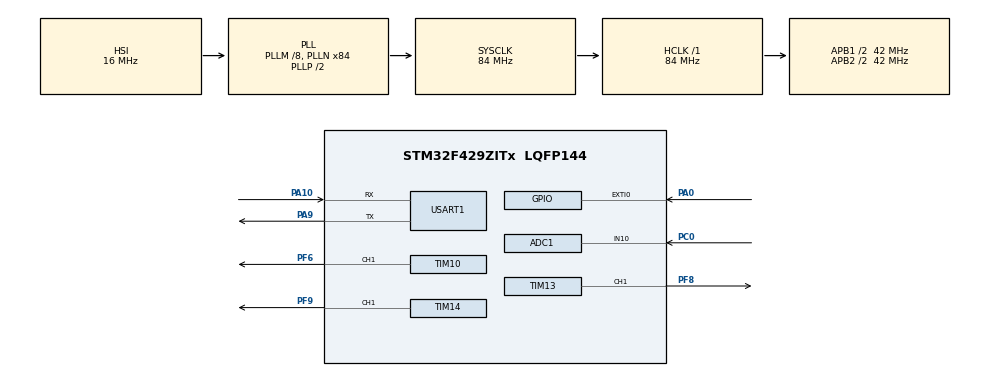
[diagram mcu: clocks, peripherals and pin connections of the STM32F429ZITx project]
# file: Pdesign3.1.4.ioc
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ADC1.Channel-1\#ChannelRegularConversion=ADC_CHANNEL_10
ADC1.ContinuousConvMode=ENABLE
ADC1.NbrOfConversionFlag=1
ADC1.Rank-1\#ChannelRegularConversion=1
ADC1.SamplingTime-1\#ChannelRegularConversion=ADC_SAMPLETIME_15CYCLES
ADC1.master=1
Mcu.Family=STM32F4
Mcu.Name=STM32F429ZITx
Mcu.Package=LQFP144
NVIC.EXTI0_IRQn=true\:0\:0\:false\:false\:true\:true\:true\:true
NVIC.PriorityGroup=NVIC_PRIORITYGROUP_4
NVIC.USART1_IRQn=true\:0\:0\:false\:false\:true\:true\:true\:true
PA0/WKUP.GPIO_ModeDefaultEXTI=GPIO_MODE_IT_RISING
PA0/WKUP.GPIO_PuPd=GPIO_PULLDOWN
PA0/WKUP.Signal=GPXTI0
PA10.Mode=Asynchronous
PA10.Signal=USART1_RX
PA13.Mode=Serial_Wire
PA13.Signal=SYS_JTMS-SWDIO
PA14.Mode=Serial_Wire
PA14.Signal=SYS_JTCK-SWCLK
PA9.Mode=Asynchronous
PA9.Signal=USART1_TX
PC0.Signal=ADCx_IN10
PF6.GPIO_ModeDefaultPP=GPIO_MODE_AF_PP
PF6.GPIO_PuPd=GPIO_PULLDOWN
PF6.Signal=S_TIM10_CH1
PF8.GPIO_PuPd=GPIO_PULLDOWN
PF8.Signal=S_TIM13_CH1
PF9.GPIO_PuPd=GPIO_PULLDOWN
PF9.Signal=S_TIM14_CH1
PH0/OSC_IN.Mode=HSE-External-Clock-Source
PH0/OSC_IN.Signal=RCC_OSC_IN
PH1/OSC_OUT.Mode=HSE-External-Clock-Source
PH1/OSC_OUT.Signal=RCC_OSC_OUT
ProjectManager.HeapSize=0x200
ProjectManager.StackSize=0x400
ProjectManager.TargetToolchain=MDK-ARM V5.32
RCC.48MHZClocksFreq_Value=42000000
RCC.AHBFreq_Value=84000000
RCC.APB1CLKDivider=RCC_HCLK_DIV2
RCC.APB1Freq_Value=42000000
RCC.APB1TimFreq_Value=84000000
RCC.APB2CLKDivider=RCC_HCLK_DIV2
RCC.APB2Freq_Value=42000000
RCC.APB2TimFreq_Value=84000000
RCC.CortexFreq_Value=84000000
RCC.HCLKFreq_Value=84000000
RCC.HSE_VALUE=25000000
RCC.HSI_VALUE=16000000
RCC.LSE_VALUE=32768
RCC.PLLM=8
RCC.PLLN=84
RCC.SYSCLKFreq_VALUE=84000000
RCC.SYSCLKSource=RCC_SYSCLKSOURCE_PLLCLK
RCC.VCOOutputFreq_Value=168000000
SH.ADCx_IN10.0=ADC1_IN10,IN10
SH.S_TIM10_CH1.0=TIM10_CH1,PWM Generation1 CH1
SH.S_TIM13_CH1.0=TIM13_CH1,PWM Generation1 CH1
SH.S_TIM14_CH1.0=TIM14_CH1,PWM Generation1 CH1
TIM10.AutoReloadPreload=TIM_AUTORELOAD_PRELOAD_ENABLE
TIM10.Channel=TIM_CHANNEL_1
TIM10.Period=839
TIM10.Prescaler=99
TIM13.AutoReloadPreload=TIM_AUTORELOAD_PRELOAD_ENABLE
TIM13.Channel=TIM_CHANNEL_1
TIM13.Period=839
TIM13.Prescaler=99
TIM14.AutoReloadPreload=TIM_AUTORELOAD_PRELOAD_ENABLE
TIM14.Channel=TIM_CHANNEL_1
TIM14.Period=839
TIM14.Prescaler=99
USART1.VirtualMode=VM_ASYNC
VP_TIM10_VS_ClockSourceINT.Mode=Enable_Timer
VP_TIM13_VS_ClockSourceINT.Mode=Enable_Timer
VP_TIM14_VS_ClockSourceINT.Mode=Enable_Timer
board=custom

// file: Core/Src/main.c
/* USER CODE BEGIN Header */
/**
  ******************************************************************************
  * @file           : main.c
  * @brief          : Main program body
  ******************************************************************************
  * @attention
  *
  * Copyright (c) 2024 STMicroelectronics.
  * All rights reserved.
  *
  * This software is licensed under terms that can be found in the LICENSE file
  * in the root directory of this software component.
  * If no LICENSE file comes with this software, it is provided AS-IS.
  *
  ******************************************************************************
  */
/* USER CODE END Header */
#include "main.h"
#include "adc.h"
#include "tim.h"
#include "usart.h"
#include "gpio.h"

/* USER CODE BEGIN Includes */
#include <stdio.h>
#include <string.h>
#include <stdlib.h>
#include <math.h>
/* USER CODE END Includes */

/* USER CODE BEGIN PD */

/*PWM相关变量*/
uint8_t duty_cycle_input = 100;       	/* 接收串口输入的占空比*/
static uint32_t pwm_value = 0;         // 储存占空比的值
uint32_t duty_cycle_max = 100;  // 储存最大占空比值
uint8_t received_pwm_value = 0;      	  /*接收的PWM占空比*/
uint8_t new_pwm_value_received = 0;     /*标志位，表示收到新的PWM值*/
static int breathing_direction = 1;    // 占空比变化方向：1或-1
static uint32_t last_update_time = 0;

/*输入处理相关变量*/
#define MAX_INPUT_LENGTH 20  // 输入缓冲区最大长度
char input_buffer[MAX_INPUT_LENGTH];  // 输入缓冲区
int buffer_index = 0;  // 当前输入缓冲区的位置，表示下一个接收字符应当存放的位置
uint8_t duty_cycle_input;  // 储存当前接收的字节
int received_period_ms = 0;   // 收到的周期值
int new_period_value_received = 0;  // 标识符，标记是否收到周期

/*模式与颜色相关变量*/
static uint8_t current_color = 0;      // 当前的颜色
static uint8_t current_mode = 0;       // 当前模式

/*按键相关变量*/
uint32_t last_button_press = 0;         /*存放上次按键按下的时间，用于消除抖动*/

/*ADC光敏采集相关变量*/
uint32_t AD_Value;
uint32_t voltage;

//char *display_duty = "current duty:"
/* USER CODE END PD */

void SystemClock_Config(void);
/* USER CODE BEGIN PFP */
void HAL_GPIO_EXTI_Callback(uint16_t GPIO_Pin);
void HAL_UART_RxCpltCallback(UART_HandleTypeDef *huart);
void Update_PWM(void);
void Update_Period(uint32_t period_ms);
void Get_Lux(void);
/* USER CODE END PFP */

int main(void)
{

  /* MCU Configuration--------------------------------------------------------*/

  /* Reset of all peripherals, Initializes the Flash interface and the Systick. */
  HAL_Init();

  /* Configure the system clock */
  SystemClock_Config();

  /* Initialize all configured peripherals */
  MX_GPIO_Init();
  MX_TIM13_Init();
  MX_TIM10_Init();
  MX_TIM14_Init();
  MX_USART1_UART_Init();
  MX_ADC1_Init();
  /* USER CODE BEGIN 2 */

	//开启三个定时器
	HAL_TIM_PWM_Start(&htim13, TIM_CHANNEL_1);
  HAL_TIM_PWM_Start(&htim10, TIM_CHANNEL_1);
  HAL_TIM_PWM_Start(&htim14, TIM_CHANNEL_1);

	//usart启动中断接收
	HAL_UART_Receive_IT(&huart1, &duty_cycle_input, 1);

  /* USER CODE END 2 */

  /* Infinite loop */
  /* USER CODE BEGIN WHILE */
  while (1)
  {
		//更新PWM实现呼吸灯效果
		Update_PWM();
		HAL_Delay(10);

		//每十秒获取光强数据
		static uint32_t last_voltage_time = 0;
		if (HAL_GetTick() - last_voltage_time >= 10) {
				Get_Lux();
				last_voltage_time = HAL_GetTick();
		}
    /* USER CODE END WHILE */

  }
}

void SystemClock_Config(void)
{
  RCC_OscInitTypeDef RCC_OscInitStruct = {0};
  RCC_ClkInitTypeDef RCC_ClkInitStruct = {0};

  /** Configure the main internal regulator output voltage
  */
  __HAL_RCC_PWR_CLK_ENABLE();
  __HAL_PWR_VOLTAGESCALING_CONFIG(PWR_REGULATOR_VOLTAGE_SCALE3);

  /** Initializes the RCC Oscillators according to the specified parameters
  * in the RCC_OscInitTypeDef structure.
  */
  RCC_OscInitStruct.OscillatorType = RCC_OSCILLATORTYPE_HSI;
  RCC_OscInitStruct.HSIState = RCC_HSI_ON;
  RCC_OscInitStruct.HSICalibrationValue = RCC_HSICALIBRATION_DEFAULT;
  RCC_OscInitStruct.PLL.PLLState = RCC_PLL_ON;
  RCC_OscInitStruct.PLL.PLLSource = RCC_PLLSOURCE_HSI;
  RCC_OscInitStruct.PLL.PLLM = 8;
  RCC_OscInitStruct.PLL.PLLN = 84;
  RCC_OscInitStruct.PLL.PLLP = RCC_PLLP_DIV2;
  RCC_OscInitStruct.PLL.PLLQ = 4;
  if (HAL_RCC_OscConfig(&RCC_OscInitStruct) != HAL_OK)
  {
    Error_Handler();
  }

  /** Initializes the CPU, AHB and APB buses clocks
  */
  RCC_ClkInitStruct.ClockType = RCC_CLOCKTYPE_HCLK|RCC_CLOCKTYPE_SYSCLK
                              |RCC_CLOCKTYPE_PCLK1|RCC_CLOCKTYPE_PCLK2;
  RCC_ClkInitStruct.SYSCLKSource = RCC_SYSCLKSOURCE_PLLCLK;
  RCC_ClkInitStruct.AHBCLKDivider = RCC_SYSCLK_DIV1;
  RCC_ClkInitStruct.APB1CLKDivider = RCC_HCLK_DIV2;
  RCC_ClkInitStruct.APB2CLKDivider = RCC_HCLK_DIV2;

  if (HAL_RCC_ClockConfig(&RCC_ClkInitStruct, FLASH_LATENCY_2) != HAL_OK)
  {
    Error_Handler();
  }
}

/* USER CODE BEGIN 4 */

/**
 * @brief 更新PWM占空比，用于实现呼吸灯效果
 *        根据当前模式和方向动态调整占空比，并在颜色模式变化后切换灯光颜色
 * @param None
 * @retval None
 */
void Update_PWM(void)
{
		//延时消除
    if (HAL_GetTick() - last_update_time >= 10)
    {
        last_update_time = HAL_GetTick();

        // 如果接收到新的占空比，更新占空比
				// 否则占空比按呼吸灯模式
        if (new_pwm_value_received)
        {
            pwm_value = received_pwm_value;
        }
        else
        {
						// pwm根据呼吸方向逐渐增大/减小
            pwm_value += breathing_direction * 1;

        // 控制占空比范围
        if (pwm_value >= 100) {
            pwm_value = 100;
            breathing_direction = -1;  // 占空比达最大，开始反向减小
        } else if (pwm_value <= 0) {
            pwm_value = 0;
            breathing_direction = 1;  // 占空比达最小，开始正向增大

            // 更新颜色模式
						/*
						参数current_mode=0时，颜色变化为红、蓝、绿
						参数current_mode=1时，颜色变化为红、绿
						*/
            if (current_mode == 0) {
                current_color = (current_color + 1) % 3;
            } else if (current_mode == 1) {
                current_color = (current_color == 0) ? 2 : 0;
            }
					}
				}

        // 更新占空比
        if (current_color == 0) {  // 红灯
            __HAL_TIM_SET_COMPARE(&htim13, TIM_CHANNEL_1, pwm_value);
            __HAL_TIM_SET_COMPARE(&htim10, TIM_CHANNEL_1, 0);
            __HAL_TIM_SET_COMPARE(&htim14, TIM_CHANNEL_1, 0);
        } else if (current_color == 1) {  // 蓝灯
            __HAL_TIM_SET_COMPARE(&htim13, TIM_CHANNEL_1, 0);
            __HAL_TIM_SET_COMPARE(&htim10, TIM_CHANNEL_1, pwm_value);
            __HAL_TIM_SET_COMPARE(&htim14, TIM_CHANNEL_1, 0);
        } else if (current_color == 2) {  // 绿灯
            __HAL_TIM_SET_COMPARE(&htim13, TIM_CHANNEL_1, 0);
            __HAL_TIM_SET_COMPARE(&htim10, TIM_CHANNEL_1, 0);
            __HAL_TIM_SET_COMPARE(&htim14, TIM_CHANNEL_1, pwm_value);
        }
    }
}

/**
 * @brief 外部中断回调函数，用于切换呼吸灯模式（两色模式和三色模式）
 *        同时按键消除抖动并打印当前模式
 * @param GPIO_Pin：触发中断的引脚编号
 * @retval None
 */
void HAL_GPIO_EXTI_Callback(uint16_t GPIO_Pin)
{
    if (GPIO_Pin == GPIO_PIN_0) {  // 如果PA0触发
				new_pwm_value_received = 0;
        uint32_t current_time = HAL_GetTick(); //获取当前系统时间
        if (current_time - last_button_press > 20)
				{  // 防抖动（200ms）
          current_mode = !current_mode;  // 切换模式
					last_button_press = current_time;  // 更新上次按键时间
        }
				//串口打印当前模式
				if(current_mode == 0)
				{
						printf("RED-BLUE-GREEN");
				}
				else
				{
						printf("RED-BLUE");
				}
    }
}

/**
 * @brief 串口接收完成回调函数，解析输入的占空比和周期值，并更新相关参数。
 *        支持输入格式<duty_cycle>,<period_ms>\r 或 \n
 *        单独输入占空比时默认周期为1
* @param huart：指向UART句柄的指针
 * @retval None
 */
void HAL_UART_RxCpltCallback(UART_HandleTypeDef *huart) {
		// 判断从uart1接收
    if (huart == &huart1) {

				// 如果接收到换行或回车符，表示输入完成
				// 输入缓冲区当前位置设置结束符
        if (duty_cycle_input == '\r' || duty_cycle_input == '\n') {
            input_buffer[buffer_index] = '\0';

            // 定义占空比和周期，从缓冲区中解析sscanf
						// 期望格式为<duty_cycle>,<period_ms>
            int pwm_value, period_value;
            if (sscanf((char*)input_buffer, "%d,%d", &pwm_value, &period_value) == 2) {
                // 规范duty cycle有效范围
                if (pwm_value >= 0 && pwm_value <= 100) {
                    received_pwm_value = pwm_value;
                    new_pwm_value_received = 1;  // 标识符置1，表示已接收到固定占空比
                    printf("Received new duty cycle: %d%%\r\n", received_pwm_value);
                } else {
                    printf("Invalid duty cycle value. Please input a value between 0 and 100.\r\n");
                }

                // 规范period_value有效范围
                if (period_value > 0) {
                    received_period_ms = period_value;
                    printf("Received new period: %d ms\r\n", received_period_ms);
                    // 调用更新周期的函数
                    Update_Period(received_period_ms);
                } else {
                    printf("Invalid period value. Please input a value greater than 0.\r\n");
                }
            } else {
                printf("Invalid input format. Please input in the format: <duty_cycle>,<period_ms>\r\n");
            }

            // 重置缓冲区索引并清空输入缓冲区memset
            buffer_index = 0;
            memset(input_buffer, 0, sizeof(input_buffer));
        }
        // 如果还未收到结束符，且缓冲区未满，继续存储数据
        else if (buffer_index < sizeof(input_buffer) - 1) {
            input_buffer[buffer_index++] = duty_cycle_input;
        }

				// 启动串口接收中断，等待下一个字符
        HAL_UART_Receive_IT(&huart1, &duty_cycle_input, 1);
    }
}

/**
 * @brief 更新PWM周期，根据接收到的周期值重新计算并设置ARR值
 *        如果计算的ARR超出范围，会进行限制
 * @param received_period_ms：接收到的周期值（单位：毫秒）
 * @retval None
 */
void Update_Period(uint32_t received_period_ms) {
    uint32_t psc_value = 99;  // 固定PSC=99
    uint32_t clk_cnt = SystemCoreClock;  // APB2定时器时钟频率(84 MHz)

    // 打印定时器时钟频率
    printf("SystemCoreClock = %lu\n", clk_cnt);

    // 计算ARR
    uint32_t arr_value = (received_period_ms * clk_cnt) / ((psc_value + 1) * 1000) - 1;

    // 打印计算过程
    printf("Received period (ms) = %lu\n", received_period_ms);
    printf("ARR value calculated = %lu\n", arr_value);

    // 限制ARR最大值 65535
    if (arr_value > 65535) {
        arr_value = 65535;
        printf("ARR value limited to 65535\n");
    }

    // 设置ARR寄存器
    if (arr_value <= 65535) {
        __HAL_TIM_SET_AUTORELOAD(&htim10, arr_value);
        __HAL_TIM_SET_AUTORELOAD(&htim13, arr_value);
        __HAL_TIM_SET_AUTORELOAD(&htim14, arr_value);
        printf("ARR value set successfully.\n");
    } else {
        printf("Error: ARR value out of range.\n");
    }

    // 启动PWM输出
    HAL_TIM_PWM_Start(&htim10, TIM_CHANNEL_1);
    HAL_TIM_PWM_Start(&htim13, TIM_CHANNEL_1);
    HAL_TIM_PWM_Start(&htim14, TIM_CHANNEL_1);
}

/**
 * @brief 读取ADC的值并将其转化为光照强度（Lux）
 *        每隔0.2s打印一次光照强度
 * @param None
 * @retval None
 */
void Get_Lux(void) {
	//开启ADC接收
    HAL_ADC_Start(&hadc1);
	//等待接收完成
    if (HAL_ADC_PollForConversion(&hadc1, HAL_MAX_DELAY) == HAL_OK) {
        AD_Value = HAL_ADC_GetValue(&hadc1);
			//AD电压值到LUX的转换
			float lux = 3872 * pow(AD_Value, -0.7);
			//每隔0.2秒打印一次光强
        static uint32_t last_print_time = 0;
        if (HAL_GetTick() - last_print_time >= 200) {
            printf("Lux = %.1f \r\n", lux);

            last_print_time = HAL_GetTick();
        }
    }
}

/* USER CODE END 4 */

void Error_Handler(void)
{
  __disable_irq();
  while (1)
  {
  }
}
